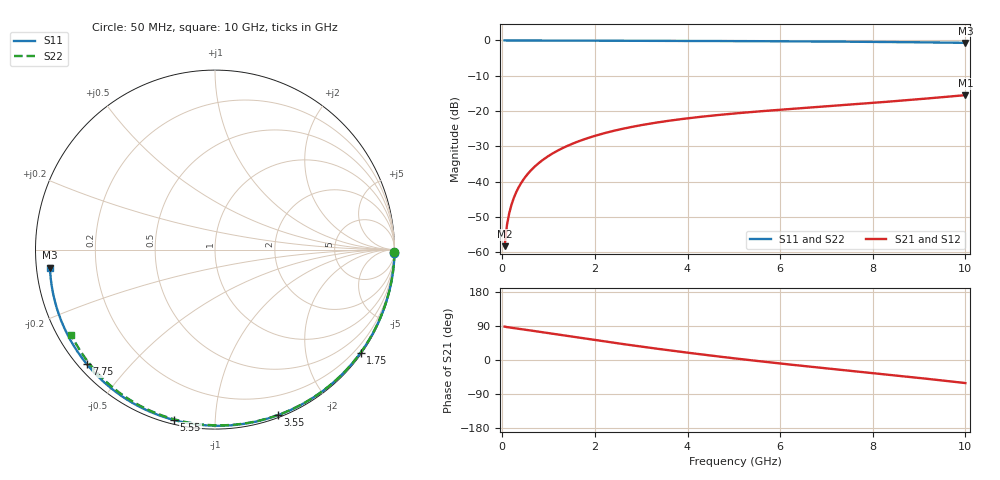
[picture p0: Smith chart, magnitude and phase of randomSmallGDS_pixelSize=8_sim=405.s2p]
! freq	dB(S11)	phase(S11)	dB(S12)	phase(S12)
!  dB(S21)	phase(S21)	dB(S22)	phase(S22)
!S-par simulation data
#  GHz  S  DB  R 50
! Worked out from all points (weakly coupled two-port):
!   200 points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, 50 MHz to 10 GHz, reference 50 ohm
!   highest |S21| = -15.49 dB at 10 GHz (marker M1); lowest = -58.3 dB at 50 MHz (marker M2)
!   lowest |S11| = -0.7 dB at 10 GHz (marker M3), VSWR 25.73, Z = 1.95 - j2.71 ohm
!   |S11| at or under -10 dB: nowhere
!   |S22| runs from -0.6 to 0.0 dB; largest |S21 - S12| = 0
!   S11 on the Smith chart (normalised r, x): 50 MHz: open; 1.75 GHz: 0.03, -3.14; 3.55 GHz: 0.02, -1.45; 5.55 GHz: 0.02, -0.79; 7.75 GHz: 0.02, -0.38; 10 GHz: 0.04, -0.05
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0.05  -0.00 -1.0  -58.26 88.2  -58.26 88.2  -0.00 -0.9
0.1  -0.00 -2.1  -52.34 86.8  -52.34 86.8  -0.00 -1.8
0.15  -0.00 -3.1  -48.90 85.9  -48.90 85.9  -0.00 -2.6
0.2  -0.00 -4.1  -46.45 85.0  -46.45 85.0  -0.00 -3.5
0.25  -0.00 -5.2  -44.55 84.2  -44.55 84.2  -0.00 -4.4
0.35  -0.01 -7.2  -41.67 82.5  -41.67 82.5  -0.00 -6.1
0.5  -0.01 -10.3  -38.61 79.9  -38.61 79.9  -0.01 -8.8
0.7  -0.02 -14.3  -35.73 76.3  -35.73 76.3  -0.01 -12.2
1  -0.03 -20.4  -32.70 70.8  -32.70 70.8  -0.02 -17.4
1.35  -0.04 -27.4  -30.19 64.4  -30.19 64.4  -0.03 -23.4
1.75  -0.05 -35.3  -28.07 57.1  -28.07 57.1  -0.04 -30.2
2.6  -0.08 -51.7  -25.02 42.2  -25.02 42.2  -0.07 -44.3
3.4  -0.11 -66.6  -23.12 28.8  -23.12 28.8  -0.10 -57.1
3.55  -0.11 -69.3  -22.83 26.4  -22.83 26.4  -0.10 -59.5
4.3  -0.14 -82.5  -21.60 14.8  -21.60 14.8  -0.13 -71.1
5.05  -0.18 -95.3  -20.64 3.8  -20.64 3.8  -0.16 -82.2
5.55  -0.21 -103.5  -20.08 -3.2  -20.08 -3.2  -0.18 -89.5
6.7  -0.28 -121.8  -18.94 -18.3  -18.94 -18.3  -0.25 -105.5
7.75  -0.37 -138.2  -17.93 -31.5  -17.93 -31.5  -0.34 -119.6
8.35  -0.44 -147.5  -17.32 -39.0  -17.32 -39.0  -0.40 -127.6
9.2  -0.55 -160.8  -16.41 -50.0  -16.41 -50.0  -0.50 -138.8
10  -0.68 -173.8  -15.49 -60.9  -15.49 -60.9  -0.62 -149.4
